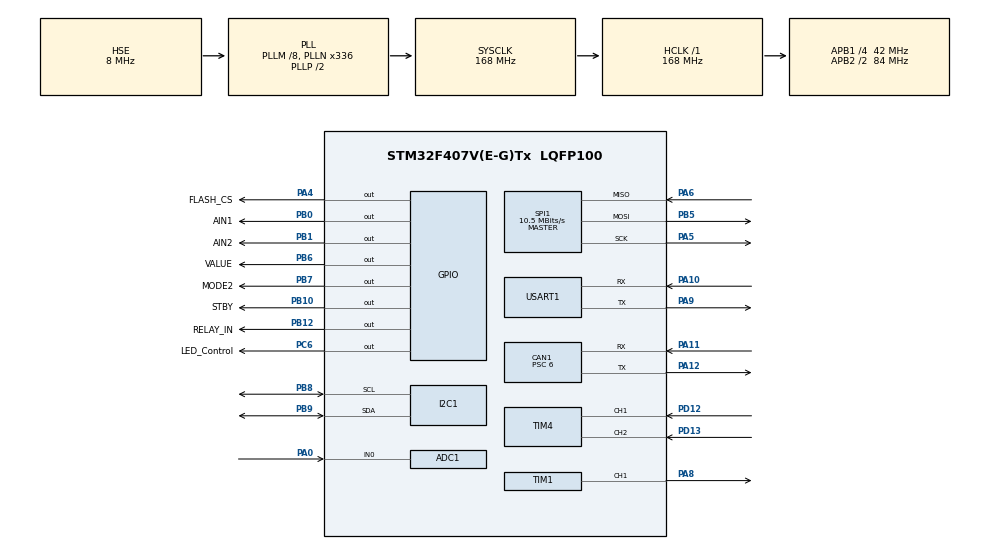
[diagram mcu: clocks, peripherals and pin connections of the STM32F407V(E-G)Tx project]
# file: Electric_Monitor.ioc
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ADC1.Channel-0\#ChannelRegularConversion=ADC_CHANNEL_0
ADC1.DMAContinuousRequests=ENABLE
ADC1.ExternalTrigConv=ADC_EXTERNALTRIGCONV_T2_TRGO
ADC1.NbrOfConversionFlag=1
ADC1.Rank-0\#ChannelRegularConversion=1
ADC1.SamplingTime-0\#ChannelRegularConversion=ADC_SAMPLETIME_3CYCLES
ADC1.master=1
CAN1.ABOM=ENABLE
CAN1.BS1=CAN_BS1_11TQ
CAN1.BS2=CAN_BS2_2TQ
CAN1.CalculateBaudRate=500000
CAN1.CalculateTimeBit=2000
CAN1.CalculateTimeQuantum=142.85714285714286
CAN1.Prescaler=6
Dma.ADC1.0.Direction=DMA_PERIPH_TO_MEMORY
Dma.ADC1.0.FIFOMode=DMA_FIFOMODE_DISABLE
Dma.ADC1.0.Instance=DMA2_Stream0
Dma.ADC1.0.MemDataAlignment=DMA_MDATAALIGN_HALFWORD
Dma.ADC1.0.MemInc=DMA_MINC_ENABLE
Dma.ADC1.0.Mode=DMA_CIRCULAR
Dma.ADC1.0.PeriphDataAlignment=DMA_PDATAALIGN_HALFWORD
Dma.ADC1.0.PeriphInc=DMA_PINC_DISABLE
Dma.ADC1.0.Priority=DMA_PRIORITY_LOW
Dma.Request0=ADC1
IWDG.Prescaler=IWDG_PRESCALER_32
IWDG.Reload=4000
Mcu.Family=STM32F4
Mcu.Name=STM32F407V(E-G)Tx
Mcu.Package=LQFP100
NVIC.CAN1_RX0_IRQn=true\:5\:0\:true\:false\:true\:true\:true\:true
NVIC.CAN1_SCE_IRQn=true\:5\:0\:true\:false\:true\:true\:true\:true
NVIC.CAN1_TX_IRQn=true\:5\:0\:true\:false\:true\:true\:true\:true
NVIC.DMA2_Stream0_IRQn=true\:6\:0\:true\:false\:true\:false\:true\:true
NVIC.PriorityGroup=NVIC_PRIORITYGROUP_4
NVIC.TIM6_DAC_IRQn=true\:15\:0\:false\:false\:true\:false\:true\:true
NVIC.TimeBase=TIM6_DAC_IRQn
NVIC.TimeBaseIP=TIM6
NVIC.USART1_IRQn=true\:6\:0\:true\:false\:true\:true\:true\:true
PA0-WKUP.Signal=ADCx_IN0
PA10.Mode=Asynchronous
PA10.Signal=USART1_RX
PA11.Mode=CAN_Activate
PA11.Signal=CAN1_RX
PA12.Mode=CAN_Activate
PA12.Signal=CAN1_TX
PA13.Mode=Serial_Wire
PA13.Signal=SYS_JTMS-SWDIO
PA14.Mode=Serial_Wire
PA14.Signal=SYS_JTCK-SWCLK
PA4.GPIO_Label=FLASH_CS
PA4.GPIO_Speed=GPIO_SPEED_FREQ_HIGH
PA4.PinState=GPIO_PIN_SET
PA4.Signal=GPIO_Output
PA5.Mode=Full_Duplex_Master
PA5.Signal=SPI1_SCK
PA6.Mode=Full_Duplex_Master
PA6.Signal=SPI1_MISO
PA8.Signal=S_TIM1_CH1
PA9.Mode=Asynchronous
PA9.Signal=USART1_TX
PB0.GPIO_Label=AIN1
PB0.Signal=GPIO_Output
PB1.GPIO_Label=AIN2
PB1.Signal=GPIO_Output
PB10.GPIO_Label=STBY
PB10.Signal=GPIO_Output
PB12.GPIO_Label=RELAY_IN
PB12.GPIO_ModeDefaultOutputPP=GPIO_MODE_OUTPUT_OD
PB12.GPIO_PuPd=GPIO_NOPULL
PB12.PinState=GPIO_PIN_SET
PB12.Signal=GPIO_Output
PB5.Mode=Full_Duplex_Master
PB5.Signal=SPI1_MOSI
PB6.GPIO_Label=VALUE
PB6.Signal=GPIO_Output
PB7.GPIO_Label=MODE2
PB7.Signal=GPIO_Output
PB8.Mode=I2C
PB8.Signal=I2C1_SCL
PB9.Mode=I2C
PB9.Signal=I2C1_SDA
PC6.GPIO_Label=LED_Control
PC6.Signal=GPIO_Output
PD12.Signal=S_TIM4_CH1
PD13.Signal=S_TIM4_CH2
PH0-OSC_IN.Mode=HSE-External-Oscillator
PH0-OSC_IN.Signal=RCC_OSC_IN
PH1-OSC_OUT.Mode=HSE-External-Oscillator
PH1-OSC_OUT.Signal=RCC_OSC_OUT
ProjectManager.HeapSize=0x200
ProjectManager.StackSize=0x400
ProjectManager.TargetToolchain=STM32CubeIDE
RCC.48MHZClocksFreq_Value=84000000
RCC.AHBFreq_Value=168000000
RCC.APB1CLKDivider=RCC_HCLK_DIV4
RCC.APB1Freq_Value=42000000
RCC.APB1TimFreq_Value=84000000
RCC.APB2CLKDivider=RCC_HCLK_DIV2
RCC.APB2Freq_Value=84000000
RCC.APB2TimFreq_Value=168000000
RCC.CortexFreq_Value=168000000
RCC.HCLKFreq_Value=168000000
RCC.HSE_VALUE=8000000
RCC.HSI_VALUE=16000000
RCC.LSE_VALUE=32768
RCC.PLLM=8
RCC.PLLN=336
RCC.PLLSourceVirtual=RCC_PLLSOURCE_HSE
RCC.SYSCLKFreq_VALUE=168000000
RCC.SYSCLKSource=RCC_SYSCLKSOURCE_PLLCLK
RCC.VCOOutputFreq_Value=336000000
SH.ADCx_IN0.0=ADC1_IN0,IN0
SH.S_TIM1_CH1.0=TIM1_CH1,PWM Generation1 CH1
SH.S_TIM4_CH1.0=TIM4_CH1,Encoder_Interface
SH.S_TIM4_CH2.0=TIM4_CH2,Encoder_Interface
SPI1.BaudRatePrescaler=SPI_BAUDRATEPRESCALER_8
SPI1.CalculateBaudRate=10.5 MBits/s
SPI1.Direction=SPI_DIRECTION_2LINES
SPI1.Mode=SPI_MODE_MASTER
SPI1.VirtualType=VM_MASTER
TIM1.Channel-PWM\ Generation1\ CH1=TIM_CHANNEL_1
TIM1.Period=6719
TIM2.Period=99
TIM2.Prescaler=8399
TIM2.TIM_MasterOutputTrigger=TIM_TRGO_UPDATE
TIM4.EncoderMode=TIM_ENCODERMODE_TI12
TIM4.IC1Filter=4
TIM4.IC2Filter=4
USART1.VirtualMode=VM_ASYNC
VP_IWDG_VS_IWDG.Mode=IWDG_Activate
VP_SYS_VS_tim6.Mode=TIM6
VP_TIM2_VS_ClockSourceINT.Mode=Internal
board=custom

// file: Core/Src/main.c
/* USER CODE BEGIN Header */
/**
  ******************************************************************************
  * @file           : main.c
  * @brief          : Main program body
  ******************************************************************************
  * @attention
  *
  * Copyright (c) 2026 STMicroelectronics.
  * All rights reserved.
  *
  * This software is licensed under terms that can be found in the LICENSE file
  * in the root directory of this software component.
  * If no LICENSE file comes with this software, it is provided AS-IS.
  *
  ******************************************************************************
  */
/* USER CODE END Header */
#include "main.h"

/* USER CODE BEGIN Includes */
#include "FreeRTOS.h"
#include "task.h"
#include "queue.h"
#include "event_groups.h"
#include "semphr.h"
#include "sensor.h"
#include "control.h"
#include "log.h"
#include "ControlCore.h"
#include "test.h"
#include "crc8.h"
#include "CRC32.h"
#include "CanRX.h"
#include "Watchdog.h"
#include "ADC_Sensor.h"
#include "SystemSync.h"
#include "W25Q64.h"
#include "NVM.h"
#include "FanControl.h"
#include <string.h>
/* USER CODE END Includes */

ADC_HandleTypeDef hadc1;
DMA_HandleTypeDef hdma_adc1;

CAN_HandleTypeDef hcan1;

I2C_HandleTypeDef hi2c1;

IWDG_HandleTypeDef hiwdg;

SPI_HandleTypeDef hspi1;

TIM_HandleTypeDef htim1;
TIM_HandleTypeDef htim2;
TIM_HandleTypeDef htim4;

UART_HandleTypeDef huart1;

/* USER CODE BEGIN PV */
TaskHandle_t SensorTaskHandle;
TaskHandle_t ControlTaskHandle;
TaskHandle_t LogTaskHandle;
TaskHandle_t CanTXTaskHandle;
TaskHandle_t CanRXTaskHandle;
TaskHandle_t WatchdogTaskHandle;
TaskHandle_t NvMTaskHandle;

QueueHandle_t Queue_Sensor_TX_t;      //传感器数据->CAN总线
QueueHandle_t Queue_Sensor_CAN_t;	  //CAN总线处理后的传感器数据
QueueHandle_t Queue_Sensor_Control_t; //传感器数据->控制器
QueueHandle_t Queue_Control_TX_t;     //控制器->CAN总线
QueueHandle_t Queue_CAN_RX_t;       // CAN中断 → CanRX任务
QueueHandle_t Queue_Control_Cmd_t;  // UART/CAN → Control任务
QueueHandle_t Queue_CAN_TX_t;  //280->CanTX
QueueHandle_t Queue_NVM_t;     //NVM
QueueHandle_t Queue_Control_Config_t;  //通知控制任务更新运行参数

SemaphoreHandle_t AdcDmaDoneSemaphore;
SemaphoreHandle_t CanMailboxSemaphore;
SemaphoreHandle_t DiagSnapshotMutex;
SemaphoreHandle_t SpiBusMutex;
EventGroupHandle_t SystemEventGroup;

uint8_t receive_byte = 0;
NvM_ParamPayload_t RuntimeParams;
/* USER CODE END PV */

void SystemClock_Config(void);
static void MX_GPIO_Init(void);
static void MX_DMA_Init(void);
static void MX_USART1_UART_Init(void);
static void MX_IWDG_Init(void);
static void MX_CAN1_Init(void);
static void MX_ADC1_Init(void);
static void MX_TIM2_Init(void);
static void MX_SPI1_Init(void);
static void MX_TIM1_Init(void);
static void MX_TIM4_Init(void);
static void MX_I2C1_Init(void);

/* USER CODE BEGIN 0 */
#include <stdio.h>
#ifdef __GNUC__
#define PUTCHAR_PROTOTYPE int __io_putchar(int ch)
#else
#define PUTCHAR_PROTOTYPE int fputc(int ch, FILE *f)
#endif
PUTCHAR_PROTOTYPE
{
  HAL_UART_Transmit(&huart1, (uint8_t *)&ch, 1, HAL_MAX_DELAY);
  return ch;
}
/* USER CODE END 0 */

int main(void)
{

  /* MCU Configuration--------------------------------------------------------*/

  /* Reset of all peripherals, Initializes the Flash interface and the Systick. */
  HAL_Init();

  /* Configure the system clock */
  SystemClock_Config();

  /* Initialize all configured peripherals */
  MX_GPIO_Init();
  MX_DMA_Init();
  MX_USART1_UART_Init();
  MX_IWDG_Init();
  MX_CAN1_Init();
  MX_ADC1_Init();
  MX_TIM2_Init();
  MX_SPI1_Init();
  MX_TIM1_Init();
  MX_TIM4_Init();
  MX_I2C1_Init();
  /* USER CODE BEGIN 2 */
  if (FanControl_Init() == 0U)
  {
      Error_Handler();
  }

  __HAL_DBGMCU_FREEZE_IWDG();

  //test
  printf("\r\n=================================\r\n");
  printf("       System Booting...         \r\n");
  printf("=================================\r\n");

  // 1. 检查是否为独立看门狗 (IWDG) 复位
  if (__HAL_RCC_GET_FLAG(RCC_FLAG_IWDGRST) != RESET)
  {
      printf("[RST_CAUSE] FATAL: IWDG Reset! (Watchdog Bite)\r\n");
  }
  // 2. 检查是否为上电/掉电复位 (POR/PDR)
  else if (__HAL_RCC_GET_FLAG(RCC_FLAG_PORRST) != RESET)
  {
      printf("[RST_CAUSE] Normal: Power-On Reset\r\n");
  }
  // 3. 检查是否为引脚复位 (按下了板子上的 RST 键，或 ST-LINK 烧录复位)
  else if (__HAL_RCC_GET_FLAG(RCC_FLAG_PINRST) != RESET)
  {
      printf("[RST_CAUSE] Normal: Pin Reset (NRST)\r\n");
  }
  // 4. 检查是否为软件复位 (代码中调用了 NVIC_SystemReset)
  else if (__HAL_RCC_GET_FLAG(RCC_FLAG_SFTRST) != RESET)
  {
      printf("[RST_CAUSE] Software Reset\r\n");
  }
  else
  {
      printf("[RST_CAUSE] Other/Unknown Reset\r\n");
  }
  __HAL_RCC_CLEAR_RESET_FLAGS();

  Test_CRC8_J1850();

  AdcDmaDoneSemaphore = xSemaphoreCreateBinary();
  CanMailboxSemaphore = xSemaphoreCreateCounting(3, 3);
  DiagSnapshotMutex = xSemaphoreCreateMutex();
  SpiBusMutex = xSemaphoreCreateMutex();
  SystemEventGroup = xEventGroupCreate();

  if (AdcDmaDoneSemaphore == NULL || CanMailboxSemaphore == NULL || DiagSnapshotMutex == NULL ||
		  SpiBusMutex == NULL || SystemEventGroup == NULL)
  {
      printf("[FATAL] Semaphore create failed!\r\n");
      HAL_GPIO_WritePin(LED_Control_GPIO_Port, LED_Control_Pin, GPIO_PIN_RESET); // 强制关断
      while(1);
  }

  if (NvM_BootInit(&RuntimeParams) != 0U)
  {
      printf("[NVM] Ready\r\n");
  }
  else
  {
      RuntimeParams = NvM_DefaultParams;

      printf("[NVM] Unavailable, using defaults\r\n");
  }

  xEventGroupSetBits(SystemEventGroup, EVT_CAN_READY);

  Queue_Sensor_TX_t = xQueueCreate(1, sizeof(Sensor_Sample_t));
  Queue_Sensor_Control_t = xQueueCreate(1, sizeof(Sensor_Sample_t));
  Queue_Sensor_CAN_t = xQueueCreate(1, sizeof(Can_Frame_t));
  Queue_Control_TX_t = xQueueCreate(1, sizeof(ControlContext_t));
  Queue_CAN_RX_t = xQueueCreate(16, sizeof(Can_Frame_t));
  Queue_Control_Cmd_t = xQueueCreate(4, sizeof(ControlCommand_t));
  Queue_CAN_TX_t = xQueueCreate(16, sizeof(Can_Frame_t));
  Queue_NVM_t = xQueueCreate(NVM_QUEUE_LENGTH, sizeof(NvM_Request_t));
  Queue_Control_Config_t = xQueueCreate(1, sizeof(NvM_ParamPayload_t));

  if (Queue_Sensor_TX_t == NULL || Queue_Sensor_Control_t == NULL || Queue_CAN_TX_t == NULL || Queue_NVM_t == NULL || Queue_Control_Config_t == NULL ||
        Queue_Sensor_CAN_t == NULL || Queue_Control_TX_t == NULL || Queue_Control_Cmd_t == NULL || Queue_CAN_RX_t == NULL)
  {
      printf("[FATAL] Queue create failed!\r\n");
      HAL_GPIO_WritePin(LED_Control_GPIO_Port, LED_Control_Pin, GPIO_PIN_RESET); // 强制关断
      while(1);
  }

  if (xTaskCreate(Sensor_Task, "Sensor", 128, NULL, 2, &SensorTaskHandle) != pdPASS)
  {
      HAL_GPIO_WritePin(LED_Control_GPIO_Port, LED_Control_Pin, GPIO_PIN_RESET);
      while(1); // 初始化失败，直接卡死
  }
  if (xTaskCreate(Log_Task, "Log", 256, NULL, 3, &LogTaskHandle) != pdPASS)
  {
      HAL_GPIO_WritePin(LED_Control_GPIO_Port, LED_Control_Pin, GPIO_PIN_RESET);
      while(1); // 初始化失败，直接卡死
  }
  if (xTaskCreate(Control_Task, "Control", 128, &RuntimeParams, 3, &ControlTaskHandle) != pdPASS)
  {
      HAL_GPIO_WritePin(LED_Control_GPIO_Port, LED_Control_Pin, GPIO_PIN_RESET);
      while(1); // 初始化失败，直接卡死
  }
  if (xTaskCreate(CanTX_Task, "CanTX", 128, NULL, 2, &CanTXTaskHandle) != pdPASS)
  {
      HAL_GPIO_WritePin(LED_Control_GPIO_Port, LED_Control_Pin, GPIO_PIN_RESET);
      while(1); // 初始化失败，直接卡死
  }
  if (xTaskCreate(Watchdog_Task, "Watchdog", 256, NULL, 4, &WatchdogTaskHandle) != pdPASS)
  {
      HAL_GPIO_WritePin(LED_Control_GPIO_Port, LED_Control_Pin, GPIO_PIN_RESET);
      while(1); // 初始化失败，直接卡死
  }
  if (xTaskCreate(CanRX_Task, "CanRX", 256, NULL, 3, &CanRXTaskHandle) != pdPASS)
  {
      HAL_GPIO_WritePin(LED_Control_GPIO_Port, LED_Control_Pin, GPIO_PIN_RESET);
      while(1); // 初始化失败，直接卡死
  }
  if (xTaskCreate(NvM_Task, "NvM", 256, NULL, 1, &NvMTaskHandle) != pdPASS)
  {
      HAL_GPIO_WritePin(LED_Control_GPIO_Port, LED_Control_Pin, GPIO_PIN_RESET);
      while(1); // 初始化失败，直接卡死
  }

  HAL_UART_Receive_IT(&huart1, &receive_byte, sizeof(uint8_t));

  HAL_IWDG_Refresh(&hiwdg);

  vTaskStartScheduler();

  /* USER CODE END 2 */

  /* Infinite loop */
  while (1)
  {

  }
}

void SystemClock_Config(void)
{
  RCC_OscInitTypeDef RCC_OscInitStruct = {0};
  RCC_ClkInitTypeDef RCC_ClkInitStruct = {0};

  /** Configure the main internal regulator output voltage
  */
  __HAL_RCC_PWR_CLK_ENABLE();
  __HAL_PWR_VOLTAGESCALING_CONFIG(PWR_REGULATOR_VOLTAGE_SCALE1);

  /** Initializes the RCC Oscillators according to the specified parameters
  * in the RCC_OscInitTypeDef structure.
  */
  RCC_OscInitStruct.OscillatorType = RCC_OSCILLATORTYPE_LSI|RCC_OSCILLATORTYPE_HSE;
  RCC_OscInitStruct.HSEState = RCC_HSE_ON;
  RCC_OscInitStruct.LSIState = RCC_LSI_ON;
  RCC_OscInitStruct.PLL.PLLState = RCC_PLL_ON;
  RCC_OscInitStruct.PLL.PLLSource = RCC_PLLSOURCE_HSE;
  RCC_OscInitStruct.PLL.PLLM = 8;
  RCC_OscInitStruct.PLL.PLLN = 336;
  RCC_OscInitStruct.PLL.PLLP = RCC_PLLP_DIV2;
  RCC_OscInitStruct.PLL.PLLQ = 4;
  if (HAL_RCC_OscConfig(&RCC_OscInitStruct) != HAL_OK)
  {
    Error_Handler();
  }

  /** Initializes the CPU, AHB and APB buses clocks
  */
  RCC_ClkInitStruct.ClockType = RCC_CLOCKTYPE_HCLK|RCC_CLOCKTYPE_SYSCLK
                              |RCC_CLOCKTYPE_PCLK1|RCC_CLOCKTYPE_PCLK2;
  RCC_ClkInitStruct.SYSCLKSource = RCC_SYSCLKSOURCE_PLLCLK;
  RCC_ClkInitStruct.AHBCLKDivider = RCC_SYSCLK_DIV1;
  RCC_ClkInitStruct.APB1CLKDivider = RCC_HCLK_DIV4;
  RCC_ClkInitStruct.APB2CLKDivider = RCC_HCLK_DIV2;

  if (HAL_RCC_ClockConfig(&RCC_ClkInitStruct, FLASH_LATENCY_5) != HAL_OK)
  {
    Error_Handler();
  }
}

static void MX_ADC1_Init(void)
{

  ADC_ChannelConfTypeDef sConfig = {0};

  /** Configure the global features of the ADC (Clock, Resolution, Data Alignment and number of conversion)
  */
  hadc1.Instance = ADC1;
  hadc1.Init.ClockPrescaler = ADC_CLOCK_SYNC_PCLK_DIV4;
  hadc1.Init.Resolution = ADC_RESOLUTION_12B;
  hadc1.Init.ScanConvMode = DISABLE;
  hadc1.Init.ContinuousConvMode = DISABLE;
  hadc1.Init.DiscontinuousConvMode = DISABLE;
  hadc1.Init.ExternalTrigConvEdge = ADC_EXTERNALTRIGCONVEDGE_RISING;
  hadc1.Init.ExternalTrigConv = ADC_EXTERNALTRIGCONV_T2_TRGO;
  hadc1.Init.DataAlign = ADC_DATAALIGN_RIGHT;
  hadc1.Init.NbrOfConversion = 1;
  hadc1.Init.DMAContinuousRequests = ENABLE;
  hadc1.Init.EOCSelection = ADC_EOC_SINGLE_CONV;
  if (HAL_ADC_Init(&hadc1) != HAL_OK)
  {
    Error_Handler();
  }

  /** Configure for the selected ADC regular channel its corresponding rank in the sequencer and its sample time.
  */
  sConfig.Channel = ADC_CHANNEL_0;
  sConfig.Rank = 1;
  sConfig.SamplingTime = ADC_SAMPLETIME_3CYCLES;
  if (HAL_ADC_ConfigChannel(&hadc1, &sConfig) != HAL_OK)
  {
    Error_Handler();
  }

}

static void MX_CAN1_Init(void)
{

  hcan1.Instance = CAN1;
  hcan1.Init.Prescaler = 6;
  hcan1.Init.Mode = CAN_MODE_NORMAL;
  hcan1.Init.SyncJumpWidth = CAN_SJW_1TQ;
  hcan1.Init.TimeSeg1 = CAN_BS1_11TQ;
  hcan1.Init.TimeSeg2 = CAN_BS2_2TQ;
  hcan1.Init.TimeTriggeredMode = DISABLE;
  hcan1.Init.AutoBusOff = ENABLE;
  hcan1.Init.AutoWakeUp = DISABLE;
  hcan1.Init.AutoRetransmission = DISABLE;
  hcan1.Init.ReceiveFifoLocked = DISABLE;
  hcan1.Init.TransmitFifoPriority = DISABLE;
  if (HAL_CAN_Init(&hcan1) != HAL_OK)
  {
    Error_Handler();
  }
  /* USER CODE BEGIN CAN1_Init 2 */
  CAN_FilterTypeDef filter = {0};

  filter.FilterBank = 0U;
  filter.FilterMode = CAN_FILTERMODE_IDMASK;
  filter.FilterScale = CAN_FILTERSCALE_32BIT;
  filter.FilterIdHigh = 0x200U << 5;
  filter.FilterMaskIdHigh = 0x7FFU << 5;
  filter.FilterFIFOAssignment = CAN_RX_FIFO0;
  filter.FilterActivation = ENABLE;
  filter.SlaveStartFilterBank = 14U;

  if (HAL_CAN_ConfigFilter(&hcan1, &filter) != HAL_OK)
  {
      Error_Handler();
  }

  filter.FilterBank = 1U;
  filter.FilterIdHigh = 0x7E0U << 5;

  if (HAL_CAN_ConfigFilter(&hcan1, &filter) != HAL_OK)
  {
      Error_Handler();
  }

  if (HAL_CAN_Start(&hcan1) != HAL_OK)
  {
      Error_Handler();
  }

  /* USER CODE END CAN1_Init 2 */

}

static void MX_I2C1_Init(void)
{

  hi2c1.Instance = I2C1;
  hi2c1.Init.ClockSpeed = 100000;
  hi2c1.Init.DutyCycle = I2C_DUTYCYCLE_2;
  hi2c1.Init.OwnAddress1 = 0;
  hi2c1.Init.AddressingMode = I2C_ADDRESSINGMODE_7BIT;
  hi2c1.Init.DualAddressMode = I2C_DUALADDRESS_DISABLE;
  hi2c1.Init.OwnAddress2 = 0;
  hi2c1.Init.GeneralCallMode = I2C_GENERALCALL_DISABLE;
  hi2c1.Init.NoStretchMode = I2C_NOSTRETCH_DISABLE;
  if (HAL_I2C_Init(&hi2c1) != HAL_OK)
  {
    Error_Handler();
  }

}

static void MX_IWDG_Init(void)
{

  hiwdg.Instance = IWDG;
  hiwdg.Init.Prescaler = IWDG_PRESCALER_32;
  hiwdg.Init.Reload = 4000;
  if (HAL_IWDG_Init(&hiwdg) != HAL_OK)
  {
    Error_Handler();
  }

}

static void MX_SPI1_Init(void)
{

  /* SPI1 parameter configuration*/
  hspi1.Instance = SPI1;
  hspi1.Init.Mode = SPI_MODE_MASTER;
  hspi1.Init.Direction = SPI_DIRECTION_2LINES;
  hspi1.Init.DataSize = SPI_DATASIZE_8BIT;
  hspi1.Init.CLKPolarity = SPI_POLARITY_LOW;
  hspi1.Init.CLKPhase = SPI_PHASE_1EDGE;
  hspi1.Init.NSS = SPI_NSS_SOFT;
  hspi1.Init.BaudRatePrescaler = SPI_BAUDRATEPRESCALER_8;
  hspi1.Init.FirstBit = SPI_FIRSTBIT_MSB;
  hspi1.Init.TIMode = SPI_TIMODE_DISABLE;
  hspi1.Init.CRCCalculation = SPI_CRCCALCULATION_DISABLE;
  hspi1.Init.CRCPolynomial = 10;
  if (HAL_SPI_Init(&hspi1) != HAL_OK)
  {
    Error_Handler();
  }

}

static void MX_TIM1_Init(void)
{

  TIM_MasterConfigTypeDef sMasterConfig = {0};
  TIM_OC_InitTypeDef sConfigOC = {0};
  TIM_BreakDeadTimeConfigTypeDef sBreakDeadTimeConfig = {0};

  htim1.Instance = TIM1;
  htim1.Init.Prescaler = 0;
  htim1.Init.CounterMode = TIM_COUNTERMODE_UP;
  htim1.Init.Period = 6719;
  htim1.Init.ClockDivision = TIM_CLOCKDIVISION_DIV1;
  htim1.Init.RepetitionCounter = 0;
  htim1.Init.AutoReloadPreload = TIM_AUTORELOAD_PRELOAD_DISABLE;
  if (HAL_TIM_PWM_Init(&htim1) != HAL_OK)
  {
    Error_Handler();
  }
  sMasterConfig.MasterOutputTrigger = TIM_TRGO_RESET;
  sMasterConfig.MasterSlaveMode = TIM_MASTERSLAVEMODE_DISABLE;
  if (HAL_TIMEx_MasterConfigSynchronization(&htim1, &sMasterConfig) != HAL_OK)
  {
    Error_Handler();
  }
  sConfigOC.OCMode = TIM_OCMODE_PWM1;
  sConfigOC.Pulse = 0;
  sConfigOC.OCPolarity = TIM_OCPOLARITY_HIGH;
  sConfigOC.OCNPolarity = TIM_OCNPOLARITY_HIGH;
  sConfigOC.OCFastMode = TIM_OCFAST_DISABLE;
  sConfigOC.OCIdleState = TIM_OCIDLESTATE_RESET;
  sConfigOC.OCNIdleState = TIM_OCNIDLESTATE_RESET;
  if (HAL_TIM_PWM_ConfigChannel(&htim1, &sConfigOC, TIM_CHANNEL_1) != HAL_OK)
  {
    Error_Handler();
  }
  sBreakDeadTimeConfig.OffStateRunMode = TIM_OSSR_DISABLE;
  sBreakDeadTimeConfig.OffStateIDLEMode = TIM_OSSI_DISABLE;
  sBreakDeadTimeConfig.LockLevel = TIM_LOCKLEVEL_OFF;
  sBreakDeadTimeConfig.DeadTime = 0;
  sBreakDeadTimeConfig.BreakState = TIM_BREAK_DISABLE;
  sBreakDeadTimeConfig.BreakPolarity = TIM_BREAKPOLARITY_HIGH;
  sBreakDeadTimeConfig.AutomaticOutput = TIM_AUTOMATICOUTPUT_DISABLE;
  if (HAL_TIMEx_ConfigBreakDeadTime(&htim1, &sBreakDeadTimeConfig) != HAL_OK)
  {
    Error_Handler();
  }
  HAL_TIM_MspPostInit(&htim1);

}

static void MX_TIM2_Init(void)
{

  TIM_ClockConfigTypeDef sClockSourceConfig = {0};
  TIM_MasterConfigTypeDef sMasterConfig = {0};

  htim2.Instance = TIM2;
  htim2.Init.Prescaler = 8399;
  htim2.Init.CounterMode = TIM_COUNTERMODE_UP;
  htim2.Init.Period = 99;
  htim2.Init.ClockDivision = TIM_CLOCKDIVISION_DIV1;
  htim2.Init.AutoReloadPreload = TIM_AUTORELOAD_PRELOAD_DISABLE;
  if (HAL_TIM_Base_Init(&htim2) != HAL_OK)
  {
    Error_Handler();
  }
  sClockSourceConfig.ClockSource = TIM_CLOCKSOURCE_INTERNAL;
  if (HAL_TIM_ConfigClockSource(&htim2, &sClockSourceConfig) != HAL_OK)
  {
    Error_Handler();
  }
  sMasterConfig.MasterOutputTrigger = TIM_TRGO_UPDATE;
  sMasterConfig.MasterSlaveMode = TIM_MASTERSLAVEMODE_DISABLE;
  if (HAL_TIMEx_MasterConfigSynchronization(&htim2, &sMasterConfig) != HAL_OK)
  {
    Error_Handler();
  }

}

static void MX_TIM4_Init(void)
{

  TIM_Encoder_InitTypeDef sConfig = {0};
  TIM_MasterConfigTypeDef sMasterConfig = {0};

  htim4.Instance = TIM4;
  htim4.Init.Prescaler = 0;
  htim4.Init.CounterMode = TIM_COUNTERMODE_UP;
  htim4.Init.Period = 65535;
  htim4.Init.ClockDivision = TIM_CLOCKDIVISION_DIV1;
  htim4.Init.AutoReloadPreload = TIM_AUTORELOAD_PRELOAD_DISABLE;
  sConfig.EncoderMode = TIM_ENCODERMODE_TI12;
  sConfig.IC1Polarity = TIM_ICPOLARITY_RISING;
  sConfig.IC1Selection = TIM_ICSELECTION_DIRECTTI;
  sConfig.IC1Prescaler = TIM_ICPSC_DIV1;
  sConfig.IC1Filter = 4;
  sConfig.IC2Polarity = TIM_ICPOLARITY_RISING;
  sConfig.IC2Selection = TIM_ICSELECTION_DIRECTTI;
  sConfig.IC2Prescaler = TIM_ICPSC_DIV1;
  sConfig.IC2Filter = 4;
  if (HAL_TIM_Encoder_Init(&htim4, &sConfig) != HAL_OK)
  {
    Error_Handler();
  }
  sMasterConfig.MasterOutputTrigger = TIM_TRGO_RESET;
  sMasterConfig.MasterSlaveMode = TIM_MASTERSLAVEMODE_DISABLE;
  if (HAL_TIMEx_MasterConfigSynchronization(&htim4, &sMasterConfig) != HAL_OK)
  {
    Error_Handler();
  }

}

static void MX_USART1_UART_Init(void)
{

  huart1.Instance = USART1;
  huart1.Init.BaudRate = 115200;
  huart1.Init.WordLength = UART_WORDLENGTH_8B;
  huart1.Init.StopBits = UART_STOPBITS_1;
  huart1.Init.Parity = UART_PARITY_NONE;
  huart1.Init.Mode = UART_MODE_TX_RX;
  huart1.Init.HwFlowCtl = UART_HWCONTROL_NONE;
  huart1.Init.OverSampling = UART_OVERSAMPLING_16;
  if (HAL_UART_Init(&huart1) != HAL_OK)
  {
    Error_Handler();
  }

}

static void MX_DMA_Init(void)
{

  /* DMA controller clock enable */
  __HAL_RCC_DMA2_CLK_ENABLE();

  /* DMA interrupt init */
  /* DMA2_Stream0_IRQn interrupt configuration */
  HAL_NVIC_SetPriority(DMA2_Stream0_IRQn, 6, 0);
  HAL_NVIC_EnableIRQ(DMA2_Stream0_IRQn);

}

static void MX_GPIO_Init(void)
{
  GPIO_InitTypeDef GPIO_InitStruct = {0};

  /* GPIO Ports Clock Enable */
  __HAL_RCC_GPIOH_CLK_ENABLE();
  __HAL_RCC_GPIOA_CLK_ENABLE();
  __HAL_RCC_GPIOB_CLK_ENABLE();
  __HAL_RCC_GPIOD_CLK_ENABLE();
  __HAL_RCC_GPIOC_CLK_ENABLE();

  /*Configure GPIO pin Output Level */
  HAL_GPIO_WritePin(FLASH_CS_GPIO_Port, FLASH_CS_Pin, GPIO_PIN_SET);

  /*Configure GPIO pin Output Level */
  HAL_GPIO_WritePin(GPIOB, AIN1_Pin|AIN2_Pin|STBY_Pin|VALUE_Pin
                          |MODE2_Pin, GPIO_PIN_RESET);

  /*Configure GPIO pin Output Level */
  HAL_GPIO_WritePin(RELAY_IN_GPIO_Port, RELAY_IN_Pin, GPIO_PIN_SET);

  /*Configure GPIO pin Output Level */
  HAL_GPIO_WritePin(LED_Control_GPIO_Port, LED_Control_Pin, GPIO_PIN_RESET);

  /*Configure GPIO pin : FLASH_CS_Pin */
  GPIO_InitStruct.Pin = FLASH_CS_Pin;
  GPIO_InitStruct.Mode = GPIO_MODE_OUTPUT_PP;
  GPIO_InitStruct.Pull = GPIO_NOPULL;
  GPIO_InitStruct.Speed = GPIO_SPEED_FREQ_HIGH;
  HAL_GPIO_Init(FLASH_CS_GPIO_Port, &GPIO_InitStruct);

  /*Configure GPIO pins : AIN1_Pin AIN2_Pin STBY_Pin VALUE_Pin
                           MODE2_Pin */
  GPIO_InitStruct.Pin = AIN1_Pin|AIN2_Pin|STBY_Pin|VALUE_Pin
                          |MODE2_Pin;
  GPIO_InitStruct.Mode = GPIO_MODE_OUTPUT_PP;
  GPIO_InitStruct.Pull = GPIO_NOPULL;
  GPIO_InitStruct.Speed = GPIO_SPEED_FREQ_LOW;
  HAL_GPIO_Init(GPIOB, &GPIO_InitStruct);

  /*Configure GPIO pin : RELAY_IN_Pin */
  GPIO_InitStruct.Pin = RELAY_IN_Pin;
  GPIO_InitStruct.Mode = GPIO_MODE_OUTPUT_OD;
  GPIO_InitStruct.Pull = GPIO_NOPULL;
  GPIO_InitStruct.Speed = GPIO_SPEED_FREQ_LOW;
  HAL_GPIO_Init(RELAY_IN_GPIO_Port, &GPIO_InitStruct);

  /*Configure GPIO pin : LED_Control_Pin */
  GPIO_InitStruct.Pin = LED_Control_Pin;
  GPIO_InitStruct.Mode = GPIO_MODE_OUTPUT_PP;
  GPIO_InitStruct.Pull = GPIO_NOPULL;
  GPIO_InitStruct.Speed = GPIO_SPEED_FREQ_LOW;
  HAL_GPIO_Init(LED_Control_GPIO_Port, &GPIO_InitStruct);

}

/* USER CODE BEGIN 4 */
void vApplicationStackOverflowHook(TaskHandle_t xTask, char *pcTaskName)
{
    // 1. 设置故障 LED 状态 (假设高电平点亮红灯报警)
    HAL_GPIO_WritePin(LED_Control_GPIO_Port, LED_Control_Pin, GPIO_PIN_RESET);

    // 2. 彻底关闭中断，停止系统调度
    __disable_irq();

    // 3. 死循环卡住，停止喂狗，等待硬件看门狗复位
    while(1)
    {
    }
}

// Malloc 失败钩子
void vApplicationMallocFailedHook(void)
{
    HAL_GPIO_WritePin(LED_Control_GPIO_Port, LED_Control_Pin, GPIO_PIN_RESET);
    __disable_irq();
    while(1)
    {
    }
}
/* USER CODE END 4 */

void HAL_TIM_PeriodElapsedCallback(TIM_HandleTypeDef *htim)
{
  if (htim->Instance == TIM6)
  {
    HAL_IncTick();
  }
}

void Error_Handler(void)
{
  __disable_irq();
  while (1)
  {
  }
}
